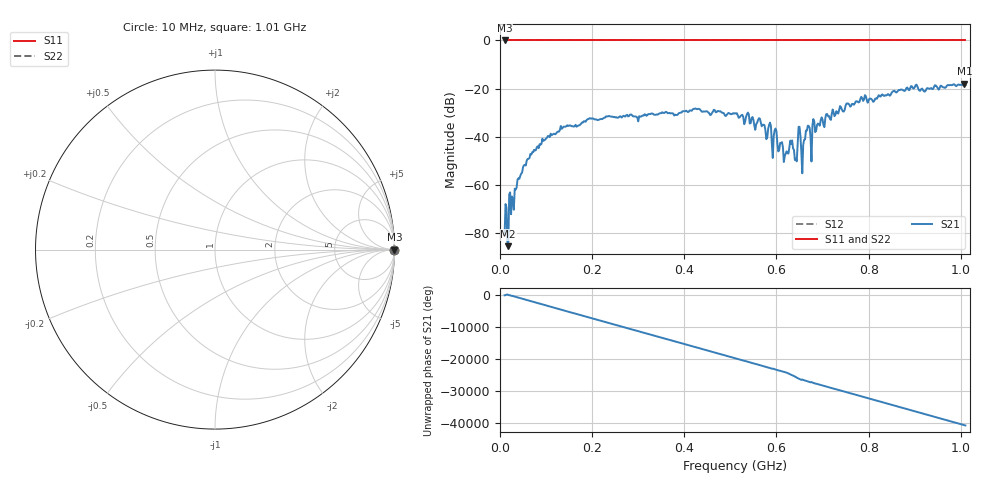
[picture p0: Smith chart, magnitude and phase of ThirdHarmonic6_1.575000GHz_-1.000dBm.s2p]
! 8/16/2025 6:44:21 PM
! C:\ANRITSUVNA\TEMP\TEMP.S2P
! CHANNEL.1
! TR.MEASUREMENT
! RAW.DATA
! RF.CORRECTION.OFF
! AVERAGING.OFF
! IF.BANDWIDTH: 5KHZ
! SWEEPTYPE:  FREQ.SWEEP(Linear)
! Reference Plane Port Info
! PORT:  PORT1  PORT2
! DISTANCE:  0  m  0  m
! TIME:  0  s  0  s
! PHASE.OFFSET:  0  deg.  0  deg.
! LOSS:  0  dB  0  dB
! REF.LOSS:  0  dB  0  dB
! REF.FREQ:  0  Hz  0  Hz
! Power Info
! POWER:  -20  dBm  -20  dBm
! EFF.POWER:  -20  dBm  -20  dBm
! SOURCE.ATTEN:  0  dB  0  dB
! TEST.ATTEN:  0  dB  0  dB
# GHZ S RI R 50.0
! FREQ.GHZ  S11RE  S11IM  S21RE  S21IM  S12RE  S12IM  S22RE  S22IM
!; PortSelection: Port_12
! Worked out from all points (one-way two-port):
!   501 points, 10 MHz to 1.01 GHz, reference 50 ohm
!   highest |S21| = -18.03 dB at 1.008 GHz (marker M1); lowest = -85.5 dB at 18 MHz (marker M2)
!   lowest |S11| = 0.0 dB at 10 MHz (marker M3)
!   |S11| at or under -10 dB: nowhere
!   |S22| runs from 0.0 to 0.0 dB; largest |S21 - S12| = 1.1
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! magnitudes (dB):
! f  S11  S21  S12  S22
! 10 MHz  0.0  -80.9  0.0  0.0
! 18 MHz  0.0  -85.5  0.0  0.0
! 42 MHz  0.0  -57.6  0.0  0.0
! 70 MHz  0.0  -46.5  0.0  0.0
! 136 MHz  0.0  -36.4  0.0  0.0
! 178 MHz  0.0  -34.1  0.0  0.0
! 344 MHz  0.0  -30.6  0.0  0.0
! 510 MHz  0.0  -30.2  0.0  0.0
! 584 MHz  0.0  -35.1  0.0  0.0
! 620 MHz  0.0  -47.1  0.0  0.0
! 632 MHz  0.0  -43.0  0.0  0.0
! 642 MHz  0.0  -49.2  0.0  0.0
! 650 MHz  0.0  -35.9  0.0  0.0
! 658 MHz  0.0  -43.4  0.0  0.0
! 668 MHz  0.0  -35.4  0.0  0.0
! 672 MHz  0.0  -36.4  0.0  0.0
! 678 MHz  0.0  -35.4  0.0  0.0
! 682 MHz  0.0  -33.7  0.0  0.0
! 754 MHz  0.0  -26.2  0.0  0.0
! 844 MHz  0.0  -22.5  0.0  0.0
! 1.008 GHz  0.0  -18.0  0.0  0.0
! 1.01 GHz  0.0  -18.6  0.0  0.0
